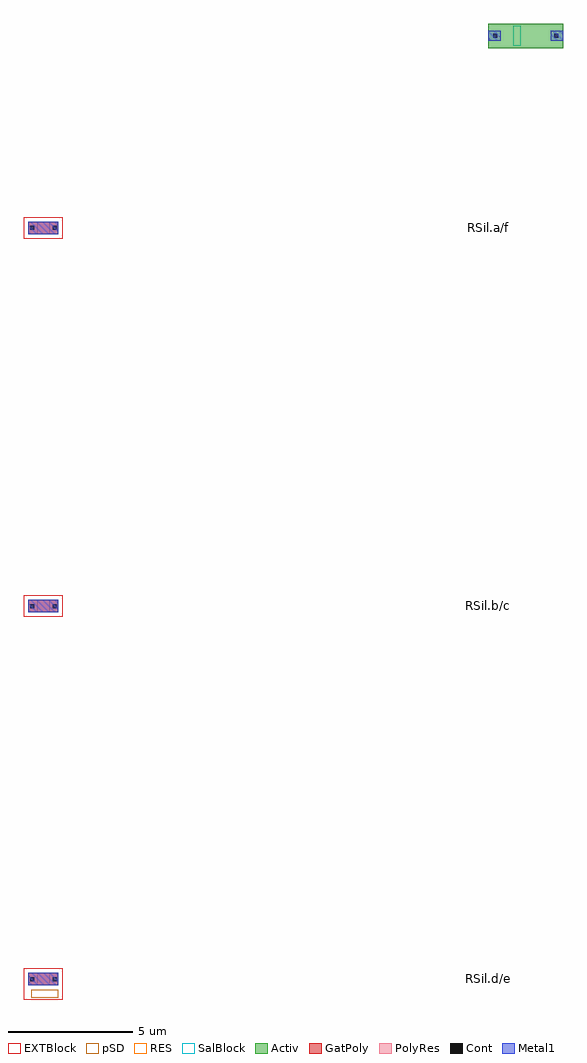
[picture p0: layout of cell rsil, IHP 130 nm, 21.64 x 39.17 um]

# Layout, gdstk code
import gdstk
lib = gdstk.Library(unit=1e-6, precision=1e-09)
def R(c, l, rs):  # rectangles x0, y0, x1, y1
    for r in rs: c.add(gdstk.rectangle(r[:2], r[2:], *l))
Activ = (1, 0)
GatPoly = (5, 0)
Cont = (6, 0)
Metal1 = (8, 0)
pSD = (14, 0)
RES = (24, 0)
SalBlock = (28, 0)
EXTBlock = (111, 0)
PolyRes = (128, 0)

rsil_fail = lib.new_cell('rsil_fail')
R(rsil_fail, Activ, [(0,0,3,1)])
R(rsil_fail, Cont, [(0.2,0.42,0.36,0.58), (2.64,0.42,2.8,0.58)])
R(rsil_fail, Metal1, [(0,0.3,0.5,0.7), (2.5,0.3,3,0.7)])
R(rsil_fail, pSD, [(0,0,3,1)])
R(rsil_fail, SalBlock, [(1,0.1,1.3,0.9)])

rsil_pass = lib.new_cell('rsil_pass')
R(rsil_pass, GatPoly, [(-18.455,-37.6,-17.255,-37.1), (-18.455,-22.63,-17.255,-22.13), (-18.455,-7.45,-17.255,-6.95)])
R(rsil_pass, Cont, [(-18.385,-37.43,-18.225,-37.27), (-17.485,-37.43,-17.325,-37.27), (-18.385,-22.46,-18.225,-22.3), (-17.485,-22.46,-17.325,-22.3), (-18.385,-7.28,-18.225,-7.12), (-17.485,-7.28,-17.325,-7.12)])
R(rsil_pass, Metal1, [(-18.455,-37.6,-17.255,-37.1), (-18.455,-22.63,-17.255,-22.13), (-18.455,-7.45,-17.255,-6.95)])
R(rsil_pass, pSD, [(-18.335,-38.09,-17.255,-37.78)])
R(rsil_pass, RES, [(-18.105,-37.6,-17.605,-37.1), (-18.105,-22.63,-17.605,-22.13), (-18.105,-7.45,-17.605,-6.95)])
R(rsil_pass, EXTBlock, [(-18.635,-38.17,-17.075,-36.92), (-18.635,-22.81,-17.075,-21.95), (-18.635,-7.63,-17.075,-6.77)])
R(rsil_pass, PolyRes, [(-18.105,-37.6,-17.605,-37.1), (-18.105,-22.63,-17.605,-22.13), (-18.105,-7.45,-17.605,-6.95)])

rsil = lib.new_cell('rsil')
rsil.add(gdstk.Reference(rsil_fail, (0,0)))
rsil.add(gdstk.Reference(rsil_pass, (0,0)))
rsil.add(gdstk.Label('FAIL', (12,5), layer=63, texttype=0))
rsil.add(gdstk.Label('PASS', (-12,5), layer=63, texttype=0))
rsil.add(gdstk.Label('RSil.d/e', (0,-37.32), layer=63, texttype=0))
rsil.add(gdstk.Label('RSil.b/c', (0,-22.35), layer=63, texttype=0))
rsil.add(gdstk.Label('RSil.a/f', (0,-7.17), layer=63, texttype=0))
rsil.add(gdstk.Label('6.4_RSil', (0,21), layer=63, texttype=0))

lib.write_gds('rsil.gds')
